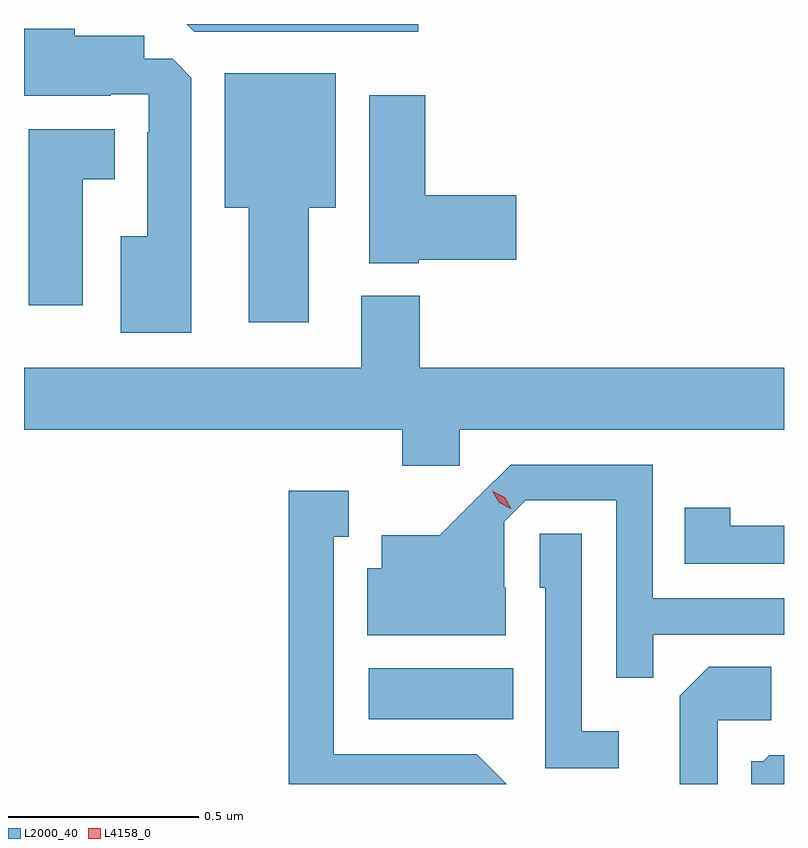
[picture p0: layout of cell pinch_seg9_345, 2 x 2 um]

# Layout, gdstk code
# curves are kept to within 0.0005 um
import gdstk
lib = gdstk.Library(unit=1e-6, precision=1e-09)
def R(c, l, rs):  # rectangles x0, y0, x1, y1
    for r in rs: c.add(gdstk.rectangle(r[:2], r[2:], *l))
def P(c, l, *ps):  # polygons
    for p in ps: c.add(gdstk.Polygon(p, *l))
L2000_40 = (2000, 40)
L4158_0 = (4158, 0)

pinch_seg9_345 = lib.new_cell('pinch_seg9_345')
R(pinch_seg9_345, L2000_40, [(614.676,1190.33,615.056,1190.464)])
P(pinch_seg9_345, L2000_40, [(614.806,1192.16),(614.197,1192.16),(614.217,1192.14),(614.806,1192.14)],
  [(614.209,1192.019),(614.16,1192.068),(614.086,1192.068),(614.086,1192.129),(613.902,1192.129),(613.902,1192.147),(613.769,1192.147),(613.769,1191.971),(613.997,1191.971),(613.997,1191.975),(614.097,1191.975),(614.097,1191.875),(614.093,1191.875),(614.093,1191.601),(614.024,1191.601),(614.024,1191.347),(614.209,1191.347)],
  [(614.518,1191.677),(614.59,1191.677),(614.59,1192.03),(614.297,1192.03),(614.297,1191.677),(614.36,1191.677),(614.36,1191.375),(614.518,1191.375)],
  [(614.808,1191.539),(615.064,1191.539),(615.064,1191.71),(614.825,1191.71),(614.825,1191.973),(614.678,1191.973),(614.678,1191.53),(614.808,1191.53)],
  [(613.924,1191.752),(614.008,1191.752),(614.008,1191.883),(613.781,1191.883),(613.781,1191.42),(613.924,1191.42)],
  [(614.916,1191.092),(615.769,1191.092),(615.769,1191.256),(614.81,1191.256),(614.81,1191.445),(614.657,1191.445),(614.657,1191.256),(613.769,1191.256),(613.769,1191.092),(614.765,1191.092),(614.765,1190.997),(614.916,1190.997)],
  [(615.425,1190.553),(615.769,1190.553),(615.769,1190.649),(615.423,1190.649),(615.423,1191),(615.05,1191),(614.863,1190.815),(614.711,1190.815),(614.711,1190.728),(614.672,1190.728),(614.672,1190.552),(615.037,1190.552),(615.037,1190.676),(615.033,1190.676),(615.033,1190.85),(615.09,1190.907),(615.327,1190.907),(615.327,1190.44),(615.425,1190.44)],
  [(614.961,1190.238),(614.584,1190.238),(614.584,1190.811),(614.623,1190.811),(614.623,1190.932),(614.466,1190.932),(614.466,1190.16),(615.039,1190.16)],
  [(615.769,1190.84),(615.627,1190.84),(615.627,1190.887),(615.508,1190.887),(615.508,1190.739),(615.769,1190.739)],
  [(615.334,1190.299),(615.237,1190.299),(615.237,1190.819),(615.126,1190.819),(615.126,1190.676),(615.141,1190.676),(615.141,1190.202),(615.334,1190.202)],
  [(615.594,1190.328),(615.736,1190.328),(615.736,1190.468),(615.571,1190.468),(615.495,1190.392),(615.495,1190.16),(615.594,1190.16)],
  [(615.769,1190.236),(615.73,1190.236),(615.714,1190.22),(615.683,1190.22),(615.683,1190.16),(615.769,1190.16)])
P(pinch_seg9_345, L4158_0, [(615.05,1190.884),(615.02,1190.9),(615.003,1190.929),(615.003,1190.93),(615.003,1190.93),(615.034,1190.914),(615.051,1190.884),(615.051,1190.884)])

lib.write_gds('pinch_seg9_345.gds')
